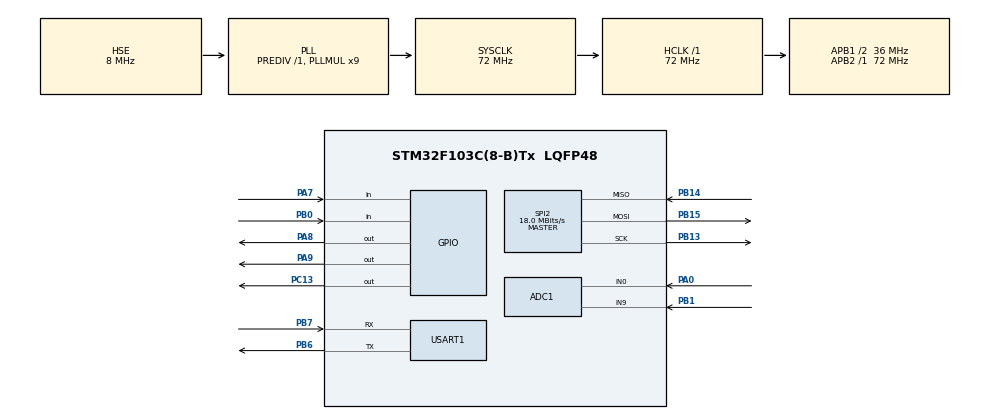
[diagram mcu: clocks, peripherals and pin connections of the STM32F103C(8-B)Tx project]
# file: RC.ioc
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ADC1.Channel-0\#ChannelRegularConversion=ADC_CHANNEL_0
ADC1.Channel-1\#ChannelRegularConversion=ADC_CHANNEL_9
ADC1.ContinuousConvMode=ENABLE
ADC1.NbrOfConversion=2
ADC1.NbrOfConversionFlag=1
ADC1.Rank-0\#ChannelRegularConversion=1
ADC1.Rank-1\#ChannelRegularConversion=2
ADC1.SamplingTime-0\#ChannelRegularConversion=ADC_SAMPLETIME_28CYCLES_5
ADC1.SamplingTime-1\#ChannelRegularConversion=ADC_SAMPLETIME_28CYCLES_5
ADC1.master=1
Dma.ADC1.0.Direction=DMA_PERIPH_TO_MEMORY
Dma.ADC1.0.Instance=DMA1_Channel1
Dma.ADC1.0.MemDataAlignment=DMA_MDATAALIGN_HALFWORD
Dma.ADC1.0.MemInc=DMA_MINC_ENABLE
Dma.ADC1.0.Mode=DMA_CIRCULAR
Dma.ADC1.0.PeriphDataAlignment=DMA_PDATAALIGN_HALFWORD
Dma.ADC1.0.PeriphInc=DMA_PINC_DISABLE
Dma.ADC1.0.Priority=DMA_PRIORITY_LOW
Dma.Request0=ADC1
Dma.Request1=SPI2_TX
Dma.Request2=SPI2_RX
Dma.SPI2_RX.2.Direction=DMA_PERIPH_TO_MEMORY
Dma.SPI2_RX.2.Instance=DMA1_Channel4
Dma.SPI2_RX.2.MemDataAlignment=DMA_MDATAALIGN_BYTE
Dma.SPI2_RX.2.MemInc=DMA_MINC_ENABLE
Dma.SPI2_RX.2.Mode=DMA_NORMAL
Dma.SPI2_RX.2.PeriphDataAlignment=DMA_PDATAALIGN_BYTE
Dma.SPI2_RX.2.PeriphInc=DMA_PINC_DISABLE
Dma.SPI2_RX.2.Priority=DMA_PRIORITY_LOW
Dma.SPI2_TX.1.Direction=DMA_MEMORY_TO_PERIPH
Dma.SPI2_TX.1.Instance=DMA1_Channel5
Dma.SPI2_TX.1.MemDataAlignment=DMA_MDATAALIGN_BYTE
Dma.SPI2_TX.1.MemInc=DMA_MINC_ENABLE
Dma.SPI2_TX.1.Mode=DMA_NORMAL
Dma.SPI2_TX.1.PeriphDataAlignment=DMA_PDATAALIGN_BYTE
Dma.SPI2_TX.1.PeriphInc=DMA_PINC_DISABLE
Dma.SPI2_TX.1.Priority=DMA_PRIORITY_LOW
Mcu.Family=STM32F1
Mcu.Name=STM32F103C(8-B)Tx
Mcu.Package=LQFP48
NVIC.DMA1_Channel1_IRQn=true\:0\:0\:false\:false\:true\:false\:true\:true
NVIC.DMA1_Channel4_IRQn=true\:0\:0\:false\:false\:true\:false\:true\:true
NVIC.DMA1_Channel5_IRQn=true\:0\:0\:false\:false\:true\:false\:true\:true
NVIC.PriorityGroup=NVIC_PRIORITYGROUP_4
PA0-WKUP.Signal=ADCx_IN0
PA13.Mode=Serial_Wire
PA13.Signal=SYS_JTMS-SWDIO
PA14.Mode=Serial_Wire
PA14.Signal=SYS_JTCK-SWCLK
PA7.GPIO_PuPd=GPIO_PULLUP
PA7.Signal=GPIO_Input
PA8.Signal=GPIO_Output
PA9.Signal=GPIO_Output
PB0.GPIO_PuPd=GPIO_NOPULL
PB0.Signal=GPIO_Input
PB1.Signal=ADCx_IN9
PB13.Mode=Full_Duplex_Master
PB13.Signal=SPI2_SCK
PB14.Mode=Full_Duplex_Master
PB14.Signal=SPI2_MISO
PB15.Mode=Full_Duplex_Master
PB15.Signal=SPI2_MOSI
PB6.Mode=Asynchronous
PB6.Signal=USART1_TX
PB7.Mode=Asynchronous
PB7.Signal=USART1_RX
PC13-TAMPER-RTC.Signal=GPIO_Output
PD0-OSC_IN.Mode=HSE-External-Oscillator
PD0-OSC_IN.Signal=RCC_OSC_IN
PD1-OSC_OUT.Mode=HSE-External-Oscillator
PD1-OSC_OUT.Signal=RCC_OSC_OUT
ProjectManager.HeapSize=0x200
ProjectManager.StackSize=0x400
ProjectManager.TargetToolchain=MDK-ARM V5.32
RCC.ADCPresc=RCC_ADCPCLK2_DIV6
RCC.AHBFreq_Value=72000000
RCC.APB1CLKDivider=RCC_HCLK_DIV2
RCC.APB1Freq_Value=36000000
RCC.APB1TimFreq_Value=72000000
RCC.APB2Freq_Value=72000000
RCC.APB2TimFreq_Value=72000000
RCC.HCLKFreq_Value=72000000
RCC.PLLMUL=RCC_PLL_MUL9
RCC.PLLSourceVirtual=RCC_PLLSOURCE_HSE
RCC.SYSCLKFreq_VALUE=72000000
RCC.SYSCLKSource=RCC_SYSCLKSOURCE_PLLCLK
RCC.USBFreq_Value=72000000
SH.ADCx_IN0.0=ADC1_IN0,IN0
SH.ADCx_IN9.0=ADC1_IN9,IN9
SPI2.CalculateBaudRate=18.0 MBits/s
SPI2.Direction=SPI_DIRECTION_2LINES
SPI2.Mode=SPI_MODE_MASTER
SPI2.VirtualType=VM_MASTER
USART1.VirtualMode=VM_ASYNC
board=custom

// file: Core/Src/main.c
/* USER CODE BEGIN Header */
/**
  ******************************************************************************
  * @file           : main.c
  * @brief          : Main program body
  ******************************************************************************
  * @attention
  *
  * Copyright (c) 2025 STMicroelectronics.
  * All rights reserved.
  *
  * This software is licensed under terms that can be found in the LICENSE file
  * in the root directory of this software component.
  * If no LICENSE file comes with this software, it is provided AS-IS.
  *
  ******************************************************************************
  */
/* USER CODE END Header */
#include "main.h"

/* USER CODE BEGIN Includes */
#include "rc_controller.h"
#include "rc_radio_cfg.h"

/* USER CODE END Includes */

ADC_HandleTypeDef hadc1;
DMA_HandleTypeDef hdma_adc1;

SPI_HandleTypeDef hspi2;
DMA_HandleTypeDef hdma_spi2_tx;
DMA_HandleTypeDef hdma_spi2_rx;

UART_HandleTypeDef huart1;

/* USER CODE BEGIN PV */
uint16_t joy0_value[2]={0};
uint16_t joy1_value[2]={0};
//RC_Frame_t frame;

/* USER CODE END PV */

void SystemClock_Config(void);
static void MX_GPIO_Init(void);
static void MX_DMA_Init(void);
static void MX_SPI2_Init(void);
static void MX_ADC1_Init(void);
static void MX_USART1_UART_Init(void);

/* USER CODE BEGIN 0 */
//HAL_StatusTypeDef RC_TxRadio_Init(void)
//{
//    // 1. Khởi tạo driver (CE, CSN, DWT delay)
//    nrf24_driver_init();
//    HAL_Delay(10);

//    // 2. Power down trước khi config
//    uint8_t cfg = 0;
//    if (nrf24_write_reg_byte(NRF_REG_CONFIG, cfg) != HAL_OK) return HAL_ERROR;
//    HAL_Delay(5);

//    // 3. Flush FIFO
//    nrf24_flush_tx();
//    nrf24_flush_rx();

//    // 4. Cấu hình RF channel
//    if (nrf24_write_reg_byte(NRF_REG_RF_CH, RC_RF_CH) != HAL_OK) return HAL_ERROR;

//    // 5. Cấu hình RF setup (1 Mbps, 0 dBm)
//    if (nrf24_write_reg_byte(NRF_REG_RF_SETUP, RC_RF_SETUP) != HAL_OK) return HAL_ERROR;

//    // 6. Cấu hình địa chỉ TX
//    if (nrf24_write_register(NRF_REG_TX_ADDR, RC_ADDR, 5) != HAL_OK) return HAL_ERROR;

//    // 7. Cấu hình địa chỉ RX pipe 0 (cần cho ACK)
//    if (nrf24_write_register(NRF_REG_RX_ADDR_P0, RC_ADDR, 5) != HAL_OK) return HAL_ERROR;

//    // 8. Enable Auto-ACK cho pipe 0
//    if (nrf24_write_reg_byte(NRF_REG_EN_AA, 0x01) != HAL_OK) return HAL_ERROR;

//    // 9. Enable RX address pipe 0
//    if (nrf24_write_reg_byte(NRF_REG_EN_RXADDR, 0x01) != HAL_OK) return HAL_ERROR;

//    // 10. Setup address width = 5 bytes
//    if (nrf24_write_reg_byte(NRF_REG_SETUP_AW, 0x03) != HAL_OK) return HAL_ERROR;

//    // 11. Setup retry: 500µs, 5 lần
//    if (nrf24_write_reg_byte(NRF_REG_SETUP_RETR, 0x15) != HAL_OK) return HAL_ERROR;

//    // 12. RX payload width pipe 0 = 16 bytes (kích thước RC_Frame_t)
//    if (nrf24_write_reg_byte(NRF_REG_RX_PW_P0, sizeof(RC_Frame_t)) != HAL_OK) return HAL_ERROR;

//    // 13. Power up, TX mode (PRIM_RX = 0)
//    cfg = NRF_CONFIG_PWR_UP | NRF_CONFIG_EN_CRC;
//    if (nrf24_write_reg_byte(NRF_REG_CONFIG, cfg) != HAL_OK) return HAL_ERROR;
//    HAL_Delay(5);  // Chờ power up

//    // 14. Clear các cờ status
//    if (nrf24_write_reg_byte(NRF_REG_STATUS, 0x70) != HAL_OK) return HAL_ERROR;

//    return HAL_OK;
//}
HAL_StatusTypeDef RC_TxRadio_Init(void)
{
    // 1) CE/CSN/DWT
    nrf24_driver_init();
    HAL_Delay(10);

    // 2) Power-down trước khi cấu hình
    if (nrf24_write_reg_byte(NRF_REG_CONFIG, 0x00) != HAL_OK) return HAL_ERROR;
    HAL_Delay(5);

    // 3) FIFO sạch
    nrf24_flush_tx();
    nrf24_flush_rx();

    // 4) RF: kênh & tốc độ/công suất
    if (nrf24_write_reg_byte(NRF_REG_RF_CH,    RC_RF_CH)    != HAL_OK) return HAL_ERROR;
    if (nrf24_write_reg_byte(NRF_REG_RF_SETUP, RC_RF_SETUP) != HAL_OK) return HAL_ERROR;

    // 5) Địa chỉ (TX_ADDR = RX_ADDR_P0, giữ nguyên cho tiện chuyển qua ACK sau này)
    if (nrf24_write_register(NRF_REG_TX_ADDR,    RC_ADDR, 5) != HAL_OK) return HAL_ERROR;
    if (nrf24_write_register(NRF_REG_RX_ADDR_P0, RC_ADDR, 5) != HAL_OK) return HAL_ERROR;

    // 6) TẮT ACK/DPL (bắn mù, không cần RX)
    if (nrf24_write_reg_byte(NRF_REG_EN_AA,     0x00) != HAL_OK) return HAL_ERROR; // tắt Auto-ACK
    if (nrf24_write_reg_byte(0x1C /*DYNPD*/,    0x00) != HAL_OK) return HAL_ERROR; // tắt DPL
    if (nrf24_write_reg_byte(0x1D /*FEATURE*/,  0x00) != HAL_OK) return HAL_ERROR; // tắt FEATURE

    // (Tuỳ chọn) Nếu muốn cố định chiều dài ở PRX thì mới cần RX_PW_P0.
    // Ở PTX (TX mode) thanh ghi này không bắt buộc; để 0x00 cũng không sao.
    // if (nrf24_write_reg_byte(NRF_REG_RX_PW_P0, sizeof(RC_Frame_t)) != HAL_OK) return HAL_ERROR;

    // 7) Bật address width=5B, bật pipe0 “đủ thủ tục”
    if (nrf24_write_reg_byte(NRF_REG_SETUP_AW,  0x03) != HAL_OK) return HAL_ERROR; // 5 bytes
    if (nrf24_write_reg_byte(NRF_REG_EN_RXADDR, 0x01) != HAL_OK) return HAL_ERROR; // enable pipe0

    // 8) Retry có thể để mặc kệ (ACK tắt nên không dùng); vẫn set an toàn
    if (nrf24_write_reg_byte(NRF_REG_SETUP_RETR, 0x15) != HAL_OK) return HAL_ERROR;

    // 9) Power-up + TX mode (PRIM_RX=0), bật CRC
    uint8_t cfg = NRF_CONFIG_PWR_UP | NRF_CONFIG_EN_CRC;  // PRIM_RX=0 mặc định
    if (nrf24_write_reg_byte(NRF_REG_CONFIG, cfg) != HAL_OK) return HAL_ERROR;
    HAL_Delay(5); // Tpwrup

    // 10) Clear cờ
    if (nrf24_write_reg_byte(NRF_REG_STATUS, 0x70) != HAL_OK) return HAL_ERROR;

    return HAL_OK;
}

void HAL_SPI_TxRxCpltCallback(SPI_HandleTypeDef *hspi)
{
    if (hspi == &hspi2) {
        nrf24_spi_dma_complete_cb();
    }
}
void HAL_SPI_ErrorCallback(SPI_HandleTypeDef *hspi)
{
    if (hspi == &hspi2) {
        // Vẫn nhả cờ để không kẹt
        nrf24_spi_dma_complete_cb();
    }
}

/* USER CODE END 0 */

int main(void)
{

  /* MCU Configuration--------------------------------------------------------*/

  /* Reset of all peripherals, Initializes the Flash interface and the Systick. */
  HAL_Init();

  /* Configure the system clock */
  SystemClock_Config();

  /* Initialize all configured peripherals */
  MX_GPIO_Init();
  MX_DMA_Init();
  MX_SPI2_Init();
  MX_ADC1_Init();
  MX_USART1_UART_Init();
  /* USER CODE BEGIN 2 */
JoyStick_Init();
    NRF24_SPI_DMA_Init(&hspi2);

    // ✅ THÊM KHỞI TẠO NRF24
    if (RC_TxRadio_Init() != HAL_OK) {
        HAL_UART_Transmit(&huart1, (uint8_t*)"NRF24 INIT FAIL\r\n", 17, 100);
        Error_Handler();
    }

    RC_Controller_Init();

    HAL_UART_Transmit(&huart1, (uint8_t*)"RC TX READY\r\n", 13, 100);
    HAL_Delay(1000);

    /* ===== VÒNG LẶP CHÍNH ===== */
    uint32_t last_send = 0;
    const uint32_t SEND_INTERVAL = 50;  // Gửi mỗi 50ms (20Hz)

  /* USER CODE END 2 */

  /* Infinite loop */
  while (1)
  {

    /* USER CODE BEGIN 3 */

	// 1. Cập nhật joystick và button
        RC_Controller_Update();

        // 2. Gửi dữ liệu theo chu kỳ 50ms
        uint32_t now = HAL_GetTick();
        if ((now - last_send) >= SEND_INTERVAL)
        {
            last_send = now;

            // ✅ GỬI ĐÚNG BUFFER FRAME (16 bytes)
            HAL_StatusTypeDef st = nrf24_send_frame_blocking(
                (uint8_t*)&frame,
                sizeof(RC_Frame_t),
                20  // Timeout 20ms
            );

            if (st == HAL_OK) {
                HAL_UART_Transmit(&huart1, (uint8_t*)"OK\r\n", 4, 10);
          //      HAL_GPIO_TogglePin(GPIOC, GPIO_PIN_13);
            }
            else if (st == HAL_TIMEOUT) {
                HAL_UART_Transmit(&huart1, (uint8_t*)"TIMEOUT\r\n", 9, 10);
            }
            else {
                HAL_UART_Transmit(&huart1, (uint8_t*)"ERROR\r\n", 7, 10);
            }
        }

        // 3. Delay nhỏ tránh quay vòng quá nhanh
        HAL_Delay(1);
  }
  /* USER CODE END 3 */
}

void SystemClock_Config(void)
{
  RCC_OscInitTypeDef RCC_OscInitStruct = {0};
  RCC_ClkInitTypeDef RCC_ClkInitStruct = {0};
  RCC_PeriphCLKInitTypeDef PeriphClkInit = {0};

  /** Initializes the RCC Oscillators according to the specified parameters
  * in the RCC_OscInitTypeDef structure.
  */
  RCC_OscInitStruct.OscillatorType = RCC_OSCILLATORTYPE_HSE;
  RCC_OscInitStruct.HSEState = RCC_HSE_ON;
  RCC_OscInitStruct.HSEPredivValue = RCC_HSE_PREDIV_DIV1;
  RCC_OscInitStruct.HSIState = RCC_HSI_ON;
  RCC_OscInitStruct.PLL.PLLState = RCC_PLL_ON;
  RCC_OscInitStruct.PLL.PLLSource = RCC_PLLSOURCE_HSE;
  RCC_OscInitStruct.PLL.PLLMUL = RCC_PLL_MUL9;
  if (HAL_RCC_OscConfig(&RCC_OscInitStruct) != HAL_OK)
  {
    Error_Handler();
  }

  /** Initializes the CPU, AHB and APB buses clocks
  */
  RCC_ClkInitStruct.ClockType = RCC_CLOCKTYPE_HCLK|RCC_CLOCKTYPE_SYSCLK
                              |RCC_CLOCKTYPE_PCLK1|RCC_CLOCKTYPE_PCLK2;
  RCC_ClkInitStruct.SYSCLKSource = RCC_SYSCLKSOURCE_PLLCLK;
  RCC_ClkInitStruct.AHBCLKDivider = RCC_SYSCLK_DIV1;
  RCC_ClkInitStruct.APB1CLKDivider = RCC_HCLK_DIV2;
  RCC_ClkInitStruct.APB2CLKDivider = RCC_HCLK_DIV1;

  if (HAL_RCC_ClockConfig(&RCC_ClkInitStruct, FLASH_LATENCY_2) != HAL_OK)
  {
    Error_Handler();
  }
  PeriphClkInit.PeriphClockSelection = RCC_PERIPHCLK_ADC;
  PeriphClkInit.AdcClockSelection = RCC_ADCPCLK2_DIV6;
  if (HAL_RCCEx_PeriphCLKConfig(&PeriphClkInit) != HAL_OK)
  {
    Error_Handler();
  }
}

static void MX_ADC1_Init(void)
{

  ADC_ChannelConfTypeDef sConfig = {0};

  /** Common config
  */
  hadc1.Instance = ADC1;
  hadc1.Init.ScanConvMode = ADC_SCAN_ENABLE;
  hadc1.Init.ContinuousConvMode = ENABLE;
  hadc1.Init.DiscontinuousConvMode = DISABLE;
  hadc1.Init.ExternalTrigConv = ADC_SOFTWARE_START;
  hadc1.Init.DataAlign = ADC_DATAALIGN_RIGHT;
  hadc1.Init.NbrOfConversion = 2;
  if (HAL_ADC_Init(&hadc1) != HAL_OK)
  {
    Error_Handler();
  }

  /** Configure Regular Channel
  */
  sConfig.Channel = ADC_CHANNEL_0;
  sConfig.Rank = ADC_REGULAR_RANK_1;
  sConfig.SamplingTime = ADC_SAMPLETIME_28CYCLES_5;
  if (HAL_ADC_ConfigChannel(&hadc1, &sConfig) != HAL_OK)
  {
    Error_Handler();
  }

  /** Configure Regular Channel
  */
  sConfig.Channel = ADC_CHANNEL_9;
  sConfig.Rank = ADC_REGULAR_RANK_2;
  if (HAL_ADC_ConfigChannel(&hadc1, &sConfig) != HAL_OK)
  {
    Error_Handler();
  }

}

static void MX_SPI2_Init(void)
{

  /* SPI2 parameter configuration*/
  hspi2.Instance = SPI2;
  hspi2.Init.Mode = SPI_MODE_MASTER;
  hspi2.Init.Direction = SPI_DIRECTION_2LINES;
  hspi2.Init.DataSize = SPI_DATASIZE_8BIT;
  hspi2.Init.CLKPolarity = SPI_POLARITY_LOW;
  hspi2.Init.CLKPhase = SPI_PHASE_1EDGE;
  hspi2.Init.NSS = SPI_NSS_SOFT;
  hspi2.Init.BaudRatePrescaler = SPI_BAUDRATEPRESCALER_8;
  hspi2.Init.FirstBit = SPI_FIRSTBIT_MSB;
  hspi2.Init.TIMode = SPI_TIMODE_DISABLE;
  hspi2.Init.CRCCalculation = SPI_CRCCALCULATION_DISABLE;
  hspi2.Init.CRCPolynomial = 10;
  if (HAL_SPI_Init(&hspi2) != HAL_OK)
  {
    Error_Handler();
  }

}

static void MX_USART1_UART_Init(void)
{

  huart1.Instance = USART1;
  huart1.Init.BaudRate = 115200;
  huart1.Init.WordLength = UART_WORDLENGTH_8B;
  huart1.Init.StopBits = UART_STOPBITS_1;
  huart1.Init.Parity = UART_PARITY_NONE;
  huart1.Init.Mode = UART_MODE_TX_RX;
  huart1.Init.HwFlowCtl = UART_HWCONTROL_NONE;
  huart1.Init.OverSampling = UART_OVERSAMPLING_16;
  if (HAL_UART_Init(&huart1) != HAL_OK)
  {
    Error_Handler();
  }

}

static void MX_DMA_Init(void)
{

  /* DMA controller clock enable */
  __HAL_RCC_DMA1_CLK_ENABLE();

  /* DMA interrupt init */
  /* DMA1_Channel1_IRQn interrupt configuration */
  HAL_NVIC_SetPriority(DMA1_Channel1_IRQn, 0, 0);
  HAL_NVIC_EnableIRQ(DMA1_Channel1_IRQn);
  /* DMA1_Channel4_IRQn interrupt configuration */
  HAL_NVIC_SetPriority(DMA1_Channel4_IRQn, 0, 0);
  HAL_NVIC_EnableIRQ(DMA1_Channel4_IRQn);
  /* DMA1_Channel5_IRQn interrupt configuration */
  HAL_NVIC_SetPriority(DMA1_Channel5_IRQn, 0, 0);
  HAL_NVIC_EnableIRQ(DMA1_Channel5_IRQn);

}

static void MX_GPIO_Init(void)
{
  GPIO_InitTypeDef GPIO_InitStruct = {0};

  /* GPIO Ports Clock Enable */
  __HAL_RCC_GPIOC_CLK_ENABLE();
  __HAL_RCC_GPIOD_CLK_ENABLE();
  __HAL_RCC_GPIOA_CLK_ENABLE();
  __HAL_RCC_GPIOB_CLK_ENABLE();

  /*Configure GPIO pin Output Level */
  HAL_GPIO_WritePin(GPIOC, GPIO_PIN_13, GPIO_PIN_RESET);

  /*Configure GPIO pin Output Level */
  HAL_GPIO_WritePin(GPIOA, GPIO_PIN_8|GPIO_PIN_9, GPIO_PIN_RESET);

  /*Configure GPIO pin : PC13 */
  GPIO_InitStruct.Pin = GPIO_PIN_13;
  GPIO_InitStruct.Mode = GPIO_MODE_OUTPUT_PP;
  GPIO_InitStruct.Pull = GPIO_NOPULL;
  GPIO_InitStruct.Speed = GPIO_SPEED_FREQ_LOW;
  HAL_GPIO_Init(GPIOC, &GPIO_InitStruct);

  /*Configure GPIO pin : PA7 */
  GPIO_InitStruct.Pin = GPIO_PIN_7;
  GPIO_InitStruct.Mode = GPIO_MODE_INPUT;
  GPIO_InitStruct.Pull = GPIO_PULLUP;
  HAL_GPIO_Init(GPIOA, &GPIO_InitStruct);

  /*Configure GPIO pin : PB0 */
  GPIO_InitStruct.Pin = GPIO_PIN_0;
  GPIO_InitStruct.Mode = GPIO_MODE_INPUT;
  GPIO_InitStruct.Pull = GPIO_NOPULL;
  HAL_GPIO_Init(GPIOB, &GPIO_InitStruct);

  /*Configure GPIO pins : PA8 PA9 */
  GPIO_InitStruct.Pin = GPIO_PIN_8|GPIO_PIN_9;
  GPIO_InitStruct.Mode = GPIO_MODE_OUTPUT_PP;
  GPIO_InitStruct.Pull = GPIO_NOPULL;
  GPIO_InitStruct.Speed = GPIO_SPEED_FREQ_LOW;
  HAL_GPIO_Init(GPIOA, &GPIO_InitStruct);

}

void Error_Handler(void)
{
  __disable_irq();
  while (1)
  {
  }
}
